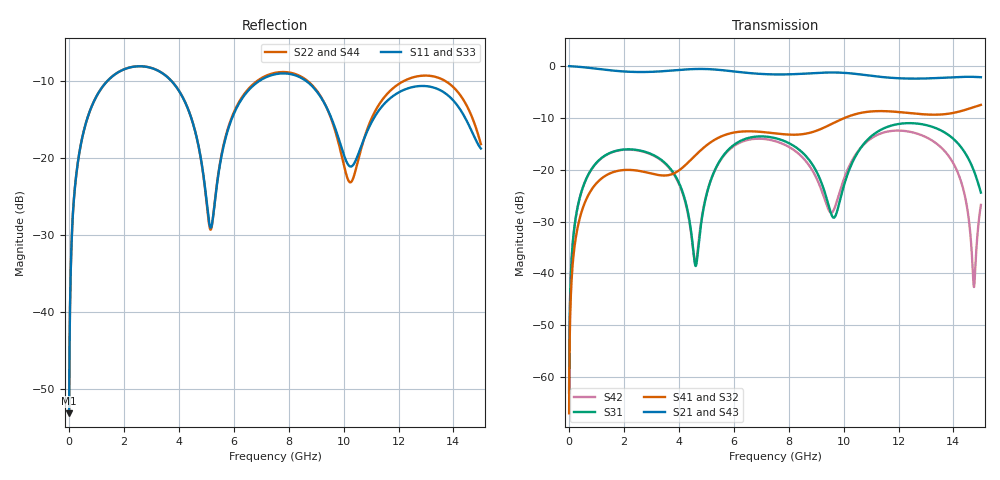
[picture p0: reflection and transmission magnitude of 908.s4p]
! Created with skrf 1.8.0 (http://scikit-rf.org).
# GHz S RI R 50.0
!freq ReS11 ImS11 ReS12 ImS12 ReS13 ImS13
! ReS14 ImS14
! ReS21 ImS21 ReS22 ImS22 ReS23 ImS23
! ReS24 ImS24
! ReS31 ImS31 ReS32 ImS32 ReS33 ImS33
! ReS34 ImS34
! ReS41 ImS41 ReS42 ImS42 ReS43 ImS43
! ReS44 ImS44
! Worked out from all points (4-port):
!   2499 points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, 5 MHz to 15 GHz, reference 50 ohm
!   strongest paths, dB at 5 MHz, 3.476 GHz, 7.19 GHz, 11.1 GHz, 15 GHz:
!     S21: 0.0, -1.0, -1.6, -1.9, -2.1
!     S43: 0.0, -1.0, -1.6, -1.9, -2.1
!     S41: -67.0, -21.1, -12.8, -8.7, -7.5
!     S32: -67.0, -21.1, -12.8, -8.7, -7.5
!     S31: -63.0, -18.6, -13.6, -13.2, -24.4
!     S42: -63.0, -18.7, -14.1, -13.6, -26.8
!   lowest |S11| = -53.2 dB at 5 MHz (marker M1), VSWR 1.00, Z = 50.2 + j0.132 ohm
!   |S11| at or under -10 dB: start of sweep to 1.41 GHz; 3.72 GHz to 6.946 GHz (3.226 GHz wide, 60.5 % of centre); 8.62 GHz to end of sweep
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0.005  0.00174 0.00132  0.9982 -0.00339  8.83e-05 0.000706  -8.56e-05 -0.00044
       0.9982 -0.00339  0.00174 0.00132  -8.56e-05 -0.00044  8.82e-05 0.000706
       8.83e-05 0.000706  -8.56e-05 -0.00044  0.00174 0.00132  0.9982 -0.00339
       -8.56e-05 -0.00044  8.82e-05 0.000706  0.9982 -0.00339  0.00174 0.00132
0.3126303  0.0266 0.0863  0.9636 -0.2101  0.0126 0.0416  -0.0104 -0.0256
           0.9636 -0.2101  0.0266 0.0863  -0.0104 -0.0256  0.0125 0.0416
           0.0126 0.0416  -0.0104 -0.0256  0.0266 0.0863  0.9636 -0.2101
           -0.0104 -0.0256  0.0125 0.0416  0.9636 -0.2101  0.0266 0.0863
1.569404  0.291 0.1682  0.5006 -0.756  0.138 0.0541  -0.0941 0.00195
          0.5006 -0.756  0.2916 0.1678  -0.0941 0.00193  0.1362 0.0568
          0.138 0.0541  -0.0941 0.00193  0.2911 0.1682  0.5006 -0.756
          -0.0941 0.00195  0.1362 0.0568  0.5006 -0.756  0.2917 0.1678
5.002084  0.0365 -0.0398  -0.9239 -0.1536  -0.00578 0.0562  -0.0256 0.1695
          -0.9239 -0.1536  0.0352 -0.0393  -0.026 0.1695  -0.0103 0.0564
          -0.00578 0.0562  -0.026 0.1695  0.0366 -0.0403  -0.9239 -0.1535
          -0.0256 0.1695  -0.0103 0.0564  -0.9239 -0.1535  0.0354 -0.0398
7.953314  0.3505 -0.0253  -0.0225 0.8318  0.1591 -0.0919  0.2094 -0.0637
          -0.0225 0.8318  0.3567 -0.0376  0.2092 -0.0629  0.1556 -0.0668
          0.1591 -0.0919  0.2092 -0.0629  0.3536 -0.0273  -0.0216 0.8306
          0.2094 -0.0637  0.1556 -0.0668  -0.0216 0.8306  0.3595 -0.0366
10.66694  0.1108 0.0507  0.826 -0.048  0.0724 0.1521  -0.0465 -0.3524
          0.826 -0.048  0.0982 0.0669  -0.0445 -0.3533  0.0362 0.1638
          0.0724 0.1521  -0.0445 -0.3533  0.1055 0.044  0.8265 -0.048
          -0.0465 -0.3524  0.0362 0.1638  0.8265 -0.048  0.1027 0.0587
15  0.1128 -0.0204  -0.6532 -0.428  -0.0483 -0.0361  -0.2193 0.3613
    -0.6532 -0.428  0.0849 -0.0882  -0.2213 0.36  -0.000983 0.0458
    -0.0483 -0.0361  -0.2213 0.36  0.1116 -0.0187  -0.657 -0.4222
    -0.2193 0.3613  -0.000983 0.0458  -0.657 -0.4222  0.0821 -0.0878
